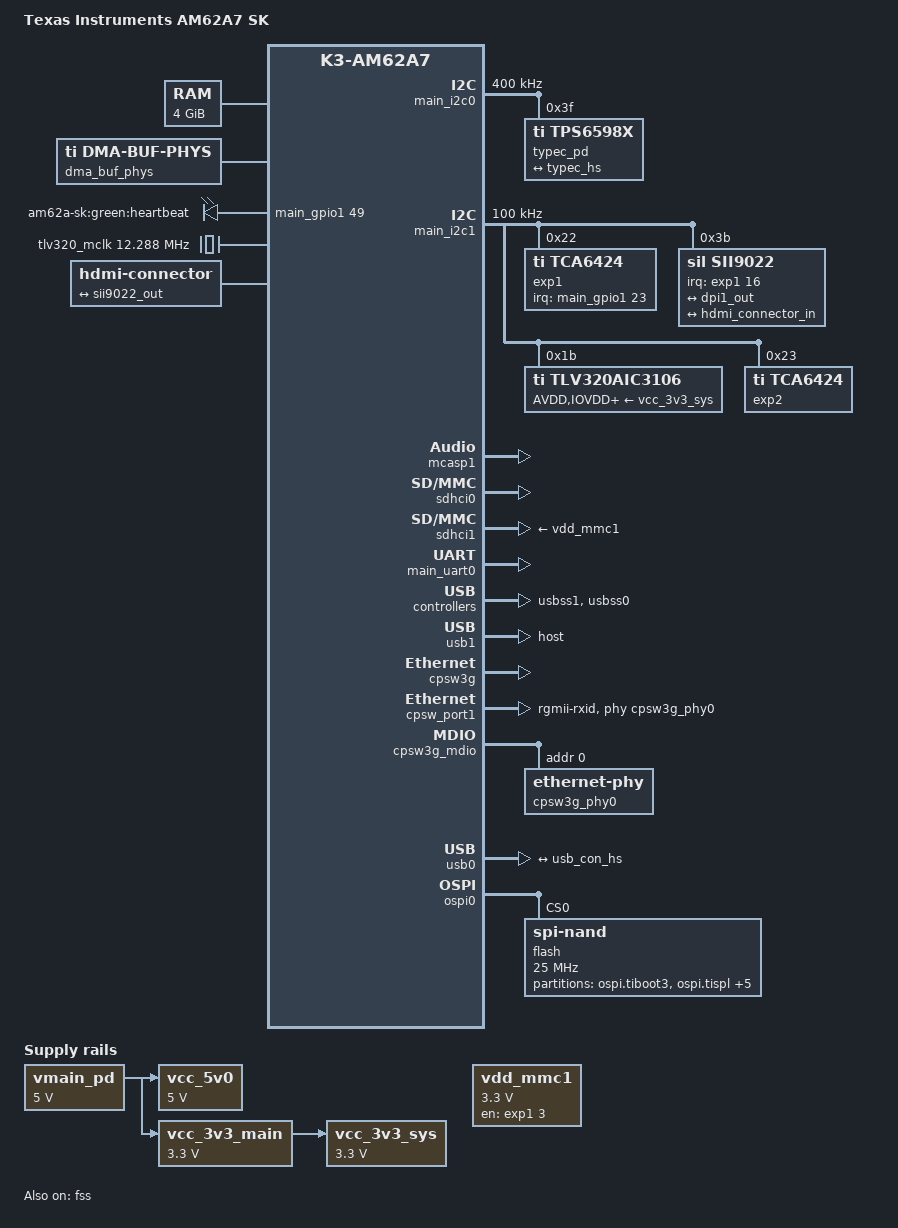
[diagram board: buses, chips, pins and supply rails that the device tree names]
// SPDX-License-Identifier: GPL-2.0
/*
 * AM62A SK: https://www.ti.com/lit/zip/sprr459
 *
 * Copyright (C) 2022 Texas Instruments Incorporated - https://www.ti.com/
 */

/dts-v1/;

#include <dt-bindings/leds/common.h>
#include <dt-bindings/gpio/gpio.h>
#include <dt-bindings/net/ti-dp83867.h>
#include "k3-am62a7.dtsi"

/ {
	compatible =  "ti,am62a7-sk", "ti,am62a7";
	model = "Texas Instruments AM62A7 SK";

	aliases {
		serial2 = &main_uart0;
		mmc0 = &sdhci0;
		mmc1 = &sdhci1;
	};

	chosen {
		stdout-path = "serial2:115200n8";
	};

	memory@80000000 {
		device_type = "memory";
		/* 4G RAM */
		reg = <0x00000000 0x80000000 0x00000000 0x80000000>,
		      <0x00000008 0x80000000 0x00000000 0x80000000>;
	};

	dma_buf_phys {
		compatible = "ti,dma-buf-phys";
	};

	reserved-memory {
		#address-cells = <2>;
		#size-cells = <2>;
		ranges;

		secure_tfa_ddr: tfa@9e780000 {
			reg = <0x00 0x9e780000 0x00 0x80000>;
			alignment = <0x1000>;
			no-map;
		};

		secure_ddr: optee@9e800000 {
			reg = <0x00 0x9e800000 0x00 0x01800000>; /* for OP-TEE */
			alignment = <0x1000>;
			no-map;
		};

		wkup_r5fss0_core0_dma_memory_region: r5f-dma-memory@9c800000 {
			compatible = "shared-dma-pool";
			reg = <0x00 0x9c800000 0x00 0x100000>;
			no-map;
		};

		wkup_r5fss0_core0_memory_region: r5f-dma-memory@9c900000 {
			compatible = "shared-dma-pool";
			reg = <0x00 0x9c900000 0x00 0x01e00000>;
			no-map;
		};

		mcu_r5fss0_core0_dma_memory_region: r5f-dma-memory@9b800000 {
			compatible = "shared-dma-pool";
			reg = <0x00 0x9b800000 0x00 0x100000>;
			no-map;
		};

		mcu_r5fss0_core0_memory_region: r5f-dma-memory@9b900000 {
			compatible = "shared-dma-pool";
			reg = <0x00 0x9b900000 0x00 0x0f00000>;
			no-map;
		};

		c7x_0_dma_memory_region: c7x-dma-memory@99800000 {
			compatible = "shared-dma-pool";
			reg = <0x00 0x99800000 0x00 0x100000>;
			no-map;
		};

		c7x_0_memory_region: c7x-memory@99900000 {
			compatible = "shared-dma-pool";
			reg = <0x00 0x99900000 0x00 0x01efffff>;
			no-map;
		};

		edgeai_rtos_ipc_memory_region: edgeai-rtos-ipc-memory-region {
			reg = <0x00 0xa0000000 0x00 0x01000000>;
			no-map;
		};

		edgeai_memory_region: edgeai-dma-memory@a1000000 {
			compatible = "shared-dma-pool";
			reg = <0x00 0xa1000000 0x00 0x02000000>;
			no-map;
		};

		edgeai_shared_region: edgeai_shared-memories {
			compatible = "dma-heap-carveout";
			reg = <0x00 0xa3000000 0x00 0x0b000000>;
		};

		edgeai_core_heaps: edgeai-core-heap-memory@ae000000 {
			compatible = "shared-dma-pool";
			reg = <0x00 0xae000000 0x00 0x12000000>;
			no-map;
		};
	};

	vmain_pd: regulator-0 {
		/* TPS25750 PD CONTROLLER OUTPUT */
		compatible = "regulator-fixed";
		regulator-name = "vmain_pd";
		regulator-min-microvolt = <5000000>;
		regulator-max-microvolt = <5000000>;
		regulator-always-on;
		regulator-boot-on;
	};

	vcc_5v0: regulator-1 {
		/* Output of TPS63070 */
		compatible = "regulator-fixed";
		regulator-name = "vcc_5v0";
		regulator-min-microvolt = <5000000>;
		regulator-max-microvolt = <5000000>;
		vin-supply = <&vmain_pd>;
		regulator-always-on;
		regulator-boot-on;
	};

	vcc_3v3_main: regulator-2 {
		/* output of LM5141-Q1 */
		compatible = "regulator-fixed";
		regulator-name = "vcc_3v3_main";
		regulator-min-microvolt = <3300000>;
		regulator-max-microvolt = <3300000>;
		vin-supply = <&vmain_pd>;
		regulator-always-on;
		regulator-boot-on;
	};

	vdd_mmc1: regulator-3 {
		/* TPS22918DBVR */
		compatible = "regulator-fixed";
		regulator-name = "vdd_mmc1";
		regulator-min-microvolt = <3300000>;
		regulator-max-microvolt = <3300000>;
		regulator-boot-on;
		enable-active-high;
		gpio = <&exp1 3 GPIO_ACTIVE_HIGH>;
	};

	vcc_3v3_sys: regulator-4 {
		/* output of TPS222965DSGT */
		compatible = "regulator-fixed";
		regulator-name = "vcc_3v3_sys";
		regulator-min-microvolt = <3300000>;
		regulator-max-microvolt = <3300000>;
		vin-supply = <&vcc_3v3_main>;
		regulator-always-on;
		regulator-boot-on;
	};

	leds {
		compatible = "gpio-leds";
		pinctrl-names = "default";
		pinctrl-0 = <&usr_led_pins_default>;

		led-0 {
			label = "am62a-sk:green:heartbeat";
			gpios = <&main_gpio1 49 GPIO_ACTIVE_HIGH>;
			linux,default-trigger = "heartbeat";
			function = LED_FUNCTION_HEARTBEAT;
			default-state = "off";
		};
	};

	hdmi_mstrclk: hdmi-mstrclk {
		compatible = "fixed-clock";
		#clock-cells = <0>;
		clock-frequency = <12288000>;
	};

	tlv320_mclk: clk-0 {
		#clock-cells = <0>;
		compatible = "fixed-clock";
		clock-frequency = <12288000>;
	};

	codec_audio: sound {
		compatible = "simple-audio-card";
		simple-audio-card,name = "AM62Ax-SKEVM";
		simple-audio-card,widgets =
			"Headphone",	"Headphone Jack",
			"Line",	"Line In",
			"Microphone",	"Microphone Jack";
		simple-audio-card,routing =
			"Headphone Jack",	"HPLOUT",
			"Headphone Jack",	"HPROUT",
			"LINE1L",		"Line In",
			"LINE1R",		"Line In",
			"MIC3R",		"Microphone Jack",
			"Microphone Jack",	"Mic Bias";
		simple-audio-card,format = "dsp_b";
		simple-audio-card,bitclock-master = <&sound_master>;
		simple-audio-card,frame-master = <&sound_master>;
		simple-audio-card,bitclock-inversion;

		simple-audio-card,cpu {
			sound-dai = <&mcasp1>;
		};

		sound_master: simple-audio-card,codec {
			sound-dai = <&tlv320aic3106>;
			clocks = <&tlv320_mclk>;
		};
	};

	hdmi: connector {
		compatible = "hdmi-connector";
		label = "hdmi";
		type = "a";
		port {
			hdmi_connector_in: endpoint {
				remote-endpoint = <&sii9022_out>;
			};
		};
	};
};

&main_pmx0 {
	main_uart0_pins_default: main-uart0-pins-default {
		pinctrl-single,pins = <
			AM62AX_IOPAD(0x1c8, PIN_INPUT, 0) /* (D14) UART0_RXD */
			AM62AX_IOPAD(0x1cc, PIN_OUTPUT, 0) /* (E14) UART0_TXD */
		>;
	};

	main_i2c0_pins_default: main-i2c0-pins-default {
		pinctrl-single,pins = <
			AM62AX_IOPAD(0x1e0, PIN_INPUT_PULLUP, 0) /* (B16) I2C0_SCL */
			AM62AX_IOPAD(0x1e4, PIN_INPUT_PULLUP, 0) /* (A16) I2C0_SDA */
		>;
	};

	main_i2c1_pins_default: main-i2c1-pins-default {
		pinctrl-single,pins = <
			AM62AX_IOPAD(0x1e8, PIN_INPUT_PULLUP, 0) /* (B17) I2C1_SCL */
			AM62AX_IOPAD(0x1ec, PIN_INPUT_PULLUP, 0) /* (A17) I2C1_SDA */
		>;
	};

	main_i2c2_pins_default: main-i2c2-pins-default {
		pinctrl-single,pins = <
			AM62AX_IOPAD(0x0b0, PIN_INPUT_PULLUP, 1) /* (K22) GPMC0_CSn2.I2C2_SCL */
			AM62AX_IOPAD(0x0b4, PIN_INPUT_PULLUP, 1) /* (K24) GPMC0_CSn3.I2C2_SDA */
		>;
	};

	main_mmc0_pins_default: main-mmc0-pins-default {
		pinctrl-single,pins = <
			AM62AX_IOPAD(0x220, PIN_INPUT, 0) /* (Y3) MMC0_CMD */
			AM62AX_IOPAD(0x218, PIN_INPUT, 0) /* (AB1) MMC0_CLKLB */
			AM62AX_IOPAD(0x21c, PIN_INPUT, 0) /* (AB1) MMC0_CLK */
			AM62AX_IOPAD(0x214, PIN_INPUT, 0) /* (AA2) MMC0_DAT0 */
			AM62AX_IOPAD(0x210, PIN_INPUT_PULLUP, 0) /* (AA1) MMC0_DAT1 */
			AM62AX_IOPAD(0x20c, PIN_INPUT_PULLUP, 0) /* (AA3) MMC0_DAT2 */
			AM62AX_IOPAD(0x208, PIN_INPUT_PULLUP, 0) /* (Y4) MMC0_DAT3 */
			AM62AX_IOPAD(0x204, PIN_INPUT_PULLUP, 0) /* (AB2) MMC0_DAT4 */
			AM62AX_IOPAD(0x200, PIN_INPUT_PULLUP, 0) /* (AC1) MMC0_DAT5 */
			AM62AX_IOPAD(0x1fc, PIN_INPUT_PULLUP, 0) /* (AD2) MMC0_DAT6 */
			AM62AX_IOPAD(0x1f8, PIN_INPUT_PULLUP, 0) /* (AC2) MMC0_DAT7 */
		>;
	};

	main_mmc1_pins_default: main-mmc1-pins-default {
		pinctrl-single,pins = <
			AM62AX_IOPAD(0x23c, PIN_INPUT, 0) /* (A21) MMC1_CMD */
			AM62AX_IOPAD(0x234, PIN_INPUT, 0) /* (B22) MMC1_CLK */
			AM62AX_IOPAD(0x230, PIN_INPUT, 0) /* (A22) MMC1_DAT0 */
			AM62AX_IOPAD(0x22c, PIN_INPUT, 0) /* (B21) MMC1_DAT1 */
			AM62AX_IOPAD(0x228, PIN_INPUT, 0) /* (C21) MMC1_DAT2 */
			AM62AX_IOPAD(0x224, PIN_INPUT, 0) /* (D22) MMC1_DAT3 */
			AM62AX_IOPAD(0x240, PIN_INPUT, 0) /* (D17) MMC1_SDCD */
		>;
	};

	usr_led_pins_default: usr-led-pins-default {
		pinctrl-single,pins = <
			AM62AX_IOPAD(0x244, PIN_OUTPUT, 7) /* (D18) MMC1_SDWP.GPIO1_49 */
		>;
	};

	main_gpio1_ioexp_intr_pins_default: main-gpio1-ioexp-intr-pins-default {
		pinctrl-single,pins = <
			AM62AX_IOPAD(0x01d4, PIN_INPUT, 7) /* (C15) UART0_RTSn.GPIO1_23 */

		>;
	};

	main_dss0_pins_default: main-dss0-pins-default {
		pinctrl-single,pins = <
			AM62AX_IOPAD(0x100, PIN_OUTPUT, 0) /* (V17) VOUT0_VSYNC */
			AM62AX_IOPAD(0x0f8, PIN_OUTPUT, 0) /* (T18) VOUT0_HSYNC */
			AM62AX_IOPAD(0x104, PIN_OUTPUT, 0) /* (AA22) VOUT0_PCLK */
			AM62AX_IOPAD(0x0fc, PIN_OUTPUT, 0) /* (U17) VOUT0_DE */
			AM62AX_IOPAD(0x0b8, PIN_OUTPUT, 0) /* (U22) VOUT0_DATA0 */
			AM62AX_IOPAD(0x0bc, PIN_OUTPUT, 0) /* (U21) VOUT0_DATA1 */
			AM62AX_IOPAD(0x0c0, PIN_OUTPUT, 0) /* (U20) VOUT0_DATA2 */
			AM62AX_IOPAD(0x0c4, PIN_OUTPUT, 0) /* (U19) VOUT0_DATA3 */
			AM62AX_IOPAD(0x0c8, PIN_OUTPUT, 0) /* (T19) VOUT0_DATA4 */
			AM62AX_IOPAD(0x0cc, PIN_OUTPUT, 0) /* (U18) VOUT0_DATA5 */
			AM62AX_IOPAD(0x0d0, PIN_OUTPUT, 0) /* (V22) VOUT0_DATA6 */
			AM62AX_IOPAD(0x0d4, PIN_OUTPUT, 0) /* (V21) VOUT0_DATA7 */
			AM62AX_IOPAD(0x0d8, PIN_OUTPUT, 0) /* (V19) VOUT0_DATA8 */
			AM62AX_IOPAD(0x0dc, PIN_OUTPUT, 0) /* (V18) VOUT0_DATA9 */
			AM62AX_IOPAD(0x0e0, PIN_OUTPUT, 0) /* (W22) VOUT0_DATA10 */
			AM62AX_IOPAD(0x0e4, PIN_OUTPUT, 0) /* (W21) VOUT0_DATA11 */
			AM62AX_IOPAD(0x0e8, PIN_OUTPUT, 0) /* (W20) VOUT0_DATA12 */
			AM62AX_IOPAD(0x0ec, PIN_OUTPUT, 0) /* (W19) VOUT0_DATA13 */
			AM62AX_IOPAD(0x0f0, PIN_OUTPUT, 0) /* (Y21) VOUT0_DATA14 */
			AM62AX_IOPAD(0x0f4, PIN_OUTPUT, 0) /* (Y22) VOUT0_DATA15 */
			AM62AX_IOPAD(0x05c, PIN_OUTPUT, 1) /* (P22) GPMC0_AD8.VOUT0_DATA16 */
			AM62AX_IOPAD(0x060, PIN_OUTPUT, 1) /* (R19) GPMC0_AD9.VOUT0_DATA17 */
			AM62AX_IOPAD(0x064, PIN_OUTPUT, 1) /* (R20) GPMC0_AD10.VOUT0_DATA18 */
			AM62AX_IOPAD(0x068, PIN_OUTPUT, 1) /* (R22) GPMC0_AD11.VOUT0_DATA19 */
			AM62AX_IOPAD(0x06c, PIN_OUTPUT, 1) /* (T22) GPMC0_AD12.VOUT0_DATA20 */
			AM62AX_IOPAD(0x070, PIN_OUTPUT, 1) /* (R21) GPMC0_AD13.VOUT0_DATA21 */
			AM62AX_IOPAD(0x074, PIN_OUTPUT, 1) /* (T20) GPMC0_AD14.VOUT0_DATA22 */
			AM62AX_IOPAD(0x078, PIN_OUTPUT, 1) /* (T21) GPMC0_AD15.VOUT0_DATA23 */
		>;
	};

	ospi0_pins_default: ospi0-pins-default {
		pinctrl-single,pins = <
			AM62AX_IOPAD(0x000, PIN_OUTPUT, 0) /* (H24) OSPI0_CLK */
			AM62AX_IOPAD(0x02c, PIN_OUTPUT, 0) /* (F23) OSPI0_CSn0 */
			AM62AX_IOPAD(0x00c, PIN_INPUT, 0) /* (E25) OSPI0_D0 */
			AM62AX_IOPAD(0x010, PIN_INPUT, 0) /* (G24) OSPI0_D1 */
			AM62AX_IOPAD(0x014, PIN_INPUT, 0) /* (F25) OSPI0_D2 */
			AM62AX_IOPAD(0x018, PIN_INPUT, 0) /* (F24) OSPI0_D3 */
			AM62AX_IOPAD(0x01c, PIN_INPUT, 0) /* (J23) OSPI0_D4 */
			AM62AX_IOPAD(0x020, PIN_INPUT, 0) /* (J25) OSPI0_D5 */
			AM62AX_IOPAD(0x024, PIN_INPUT, 0) /* (H25) OSPI0_D6 */
			AM62AX_IOPAD(0x028, PIN_INPUT, 0) /* (J22) OSPI0_D7 */
			AM62AX_IOPAD(0x008, PIN_INPUT, 0) /* (J24) OSPI0_DQS */
		>;
	};

	main_usb1_pins_default: main-usb1-pins-default {
		pinctrl-single,pins = <
			AM62AX_IOPAD(0x0258, PIN_OUTPUT, 0) /* (F18) USB1_DRVVBUS */
		>;
	};

	main_mdio1_pins_default: main-mdio1-pins-default {
		pinctrl-single,pins = <
			AM62AX_IOPAD(0x160, PIN_OUTPUT, 0) /* (V12) MDIO0_MDC */
			AM62AX_IOPAD(0x15c, PIN_INPUT, 0) /* (V13) MDIO0_MDIO */
		>;
	};

	main_rgmii1_pins_default: main-rgmii1-pins-default {
		pinctrl-single,pins = <
			AM62AX_IOPAD(0x14c, PIN_INPUT, 0) /* (AB16) RGMII1_RD0 */
			AM62AX_IOPAD(0x150, PIN_INPUT, 0) /* (V15) RGMII1_RD1 */
			AM62AX_IOPAD(0x154, PIN_INPUT, 0) /* (W15) RGMII1_RD2 */
			AM62AX_IOPAD(0x158, PIN_INPUT, 0) /* (V14) RGMII1_RD3 */
			AM62AX_IOPAD(0x148, PIN_INPUT, 0) /* (AA16) RGMII1_RXC */
			AM62AX_IOPAD(0x144, PIN_INPUT, 0) /* (AA15) RGMII1_RX_CTL */
			AM62AX_IOPAD(0x134, PIN_INPUT, 0) /* (Y17) RGMII1_TD0 */
			AM62AX_IOPAD(0x138, PIN_INPUT, 0) /* (V16) RGMII1_TD1 */
			AM62AX_IOPAD(0x13c, PIN_INPUT, 0) /* (Y16) RGMII1_TD2 */
			AM62AX_IOPAD(0x140, PIN_INPUT, 0) /* (AA17) RGMII1_TD3 */
			AM62AX_IOPAD(0x130, PIN_INPUT, 0) /* (AB17) RGMII1_TXC */
			AM62AX_IOPAD(0x12c, PIN_INPUT, 0) /* (W16) RGMII1_TX_CTL */
		>;
	};

	main_mcan0_pins_default: main-mcan0-pins-default {
		pinctrl-single,pins = <
			AM62AX_IOPAD(0x1d8, PIN_OUTPUT, 0) /* (B17) MCAN0_TX.UART5_RXD */
			AM62AX_IOPAD(0x1dc, PIN_INPUT, 0) /* (C18) MCAN0_RX.UART5_TXD */
		>;
	};

	main_mcasp1_pins_default: main-mcasp1-pins-default {
		pinctrl-single,pins = <
			AM62AX_IOPAD(0x090, PIN_INPUT, 2) /* (L19) GPMC0_BE0n_CLE.MCASP1_ACLKX */
			AM62AX_IOPAD(0x098, PIN_INPUT, 2) /* (R18) GPMC0_WAIT0.MCASP1_AFSX */
			AM62AX_IOPAD(0x08c, PIN_OUTPUT, 2) /* (K19) GPMC0_WEn.MCASP1_AXR0 */
			AM62AX_IOPAD(0x084, PIN_INPUT, 2) /* (L18) GPMC0_ADVn_ALE.MCASP1_AXR2 */
		>;
	};
};

&main_gpio1 {
	status = "okay";
};

&main_i2c0 {
	status = "okay";
	pinctrl-names = "default";
	pinctrl-0 = <&main_i2c0_pins_default>;
	clock-frequency = <400000>;

	typec_pd: usb-pd@3f {
		compatible = "ti,tps6598x";
		reg = <0x3f>;

		connector {
			ports {
				#address-cells = <1>;
				#size-cells = <0>;

				port@1 {
					reg = <1>;

					usb_con_hs: endpoint {
						remote-endpoint = <&typec_hs>;
					};
				};
			};
		};
	};
};

&main_i2c1 {
	status = "okay";
	pinctrl-names = "default";
	pinctrl-0 = <&main_i2c1_pins_default>;
	clock-frequency = <100000>;

	exp1: gpio@22 {
		compatible = "ti,tca6424";
		reg = <0x22>;
		gpio-controller;
		#gpio-cells = <2>;

		interrupt-parent = <&main_gpio1>;
		interrupts = <23 IRQ_TYPE_EDGE_FALLING>;
		interrupt-controller;
		#interrupt-cells = <2>;
		gpio-line-names = "GPIO_CPSW2_RST", "GPIO_CPSW1_RST",
				   "BT_EN_SOC", "MMC1_SD_EN",
				   "VPP_EN", "EXP_PS_3V3_En",
				   "EXP_PS_5V0_En", "EXP_HAT_DETECT",
				   "GPIO_AUD_RSTn", "GPIO_eMMC_RSTn",
				   "UART1_FET_BUF_EN", "BT_UART_WAKE_SOC",
				   "GPIO_HDMI_RSTn", "CSI_GPIO0",
				   "CSI_GPIO1", "WLAN_ALERTn",
				   "HDMI_INTn", "TEST_GPIO2",
				   "MCASP1_FET_EN", "MCASP1_BUF_BT_EN",
				   "MCASP1_FET_SEL", "UART1_FET_SEL",
				   "PD_I2C_IRQ", "IO_EXP_TEST_LED";

		pinctrl-names = "default";
		pinctrl-0 = <&main_gpio1_ioexp_intr_pins_default>;
	};

	sii9022: sii9022@3b {
		#sound-dai-cells = <0>;
		compatible = "sil,sii9022";
		reg = <0x3b>;

		clocks = <&hdmi_mstrclk>;
		clock-names = "mclk";

		interrupt-parent = <&exp1>;
		interrupts = <16 IRQ_TYPE_EDGE_FALLING>;

		sil,i2s-data-lanes = < 0 >;

		ports {
			#address-cells = <1>;
			#size-cells = <0>;

			port@0 {
				reg = <0>;

				sii9022_in: endpoint {
					remote-endpoint = <&dpi1_out>;
				};
			};

			port@1 {
				reg = <1>;

				sii9022_out: endpoint {
					remote-endpoint = <&hdmi_connector_in>;
				};
			};
		};
	};

	tlv320aic3106: audio-codec@1b {
		#sound-dai-cells = <0>;
		compatible = "ti,tlv320aic3106";
		reg = <0x1b>;
		ai3x-micbias-vg = <1>;		/* 2.0V */
		status = "okay";

		/* Regulators */
		AVDD-supply = <&vcc_3v3_sys>;
		IOVDD-supply = <&vcc_3v3_sys>;
		DRVDD-supply = <&vcc_3v3_sys>;
	};

	exp2: gpio@23 {
		compatible = "ti,tca6424";
		reg = <0x23>;
		gpio-controller;
		#gpio-cells = <2>;
	};
};

&main_i2c2 {
	status = "disabled";
	pinctrl-names = "default";
	pinctrl-0 = <&main_i2c2_pins_default>;
	clock-frequency = <400000>;
};

&mcasp1 {
	status = "okay";
	#sound-dai-cells = <0>;

	pinctrl-names = "default";
	pinctrl-0 = <&main_mcasp1_pins_default>;

	op-mode = <0>;          /* MCASP_IIS_MODE */
	tdm-slots = <2>;

	serial-dir = <  /* 0: INACTIVE, 1: TX, 2: RX */
	       1 0 2 0
	       0 0 0 0
	       0 0 0 0
	       0 0 0 0
	>;
	tx-num-evt = <32>;
	rx-num-evt = <32>;
};

&sdhci0 {
	status = "okay";
	pinctrl-names = "default";
	pinctrl-0 = <&main_mmc0_pins_default>;
	ti,driver-strength-ohm = <50>;
	disable-wp;
};

&sdhci1 {
	/* SD/MMC */
	status = "okay";
	vmmc-supply = <&vdd_mmc1>;
	pinctrl-names = "default";
	pinctrl-0 = <&main_mmc1_pins_default>;
	ti,driver-strength-ohm = <50>;
	disable-wp;
};

&main_gpio0 {
	status = "okay";
};

&main_gpio1 {
	status = "okay";
};

&main_gpio_intr {
	status = "okay";
};

&main_uart0 {
	status = "okay";
	pinctrl-names = "default";
	pinctrl-0 = <&main_uart0_pins_default>;
};

&dss {
	pinctrl-names = "default";
	pinctrl-0 = <&main_dss0_pins_default>;
};

&dss_ports {
	/* VP2: DPI Output */
	port@1 {
		reg = <1>;

		dpi1_out: endpoint {
			remote-endpoint = <&sii9022_in>;
		};
	};
};

&usbss1 {
	status = "okay";
};

&usb1 {
	dr_mode = "host";
	pinctrl-names = "default";
	pinctrl-0 = <&main_usb1_pins_default>;
};

&cpsw3g {
	status = "okay";
	pinctrl-names = "default";
	pinctrl-0 = <&main_rgmii1_pins_default>;
};

&cpsw_port1 {
	status = "okay";
	phy-mode = "rgmii-rxid";
	phy-handle = <&cpsw3g_phy0>;
};

&cpsw_port2 {
	status = "disabled";
};

&cpsw3g_mdio {
	status = "okay";
	pinctrl-names = "default";
	pinctrl-0 = <&main_mdio1_pins_default>;

	cpsw3g_phy0: ethernet-phy@0 {
		reg = <0>;
		ti,rx-internal-delay = <DP83867_RGMIIDCTL_2_00_NS>;
		ti,fifo-depth = <DP83867_PHYCR_FIFO_DEPTH_4_B_NIB>;
		ti,min-output-impedance;
	};
};

&usbss0 {
	status = "okay";
};

&usb0 {
	#address-cells = <1>;
	#size-cells = <0>;
	usb-role-switch;

	port@1 {
		reg = <1>;

		typec_hs: endpoint {
			remote-endpoint = <&usb_con_hs>;
		};
	};
};

&mailbox0_cluster0 {
	mbox_r5_0: mbox-r5-0 {
		ti,mbox-rx = <0 0 0>;
		ti,mbox-tx = <1 0 0>;
	};
};

&mailbox0_cluster1 {
	mbox_c7x_0: mbox-c7x-0 {
		ti,mbox-rx = <0 0 0>;
		ti,mbox-tx = <1 0 0>;
	};
};

&mailbox0_cluster2 {
	mbox_mcu_r5_0: mbox-mcu_r5-0 {
		ti,mbox-rx = <0 0 0>;
		ti,mbox-tx = <1 0 0>;
	};
};

&c7x_0 {
	mboxes = <&mailbox0_cluster1 &mbox_c7x_0>;
	memory-region = <&c7x_0_dma_memory_region>,
			<&c7x_0_memory_region>;
};

&wkup_r5fss0_core0 {
	mboxes = <&mailbox0_cluster0 &mbox_r5_0>;
	memory-region = <&wkup_r5fss0_core0_dma_memory_region>,
		<&wkup_r5fss0_core0_memory_region>;
};

&mcu_r5fss0_core0 {
	mboxes = <&mailbox0_cluster2 &mbox_mcu_r5_0>;
	memory-region = <&mcu_r5fss0_core0_dma_memory_region>,
			<&mcu_r5fss0_core0_memory_region>;
};

&csi0_port0 {
	status = "disabled";
};

&csi0_port1 {
	status = "disabled";
};

&csi0_port2 {
	status = "disabled";
};

&csi0_port3 {
	status = "disabled";
};

&csi0_port4 {
	status = "disabled";
};

&fss {
	status = "okay";
};

&ospi0 {
	status = "okay";
	pinctrl-names = "default";
	pinctrl-0 = <&ospi0_pins_default>;

	flash@0 {
		compatible = "spi-nand";
		reg = <0x0>;
		spi-tx-bus-width = <8>;
		spi-rx-bus-width = <8>;
		spi-max-frequency = <25000000>;
		cdns,tshsl-ns = <60>;
		cdns,tsd2d-ns = <60>;
		cdns,tchsh-ns = <60>;
		cdns,tslch-ns = <60>;
		cdns,read-delay = <2>;
		cdns,phy-mode;

		partitions {
			compatible = "fixed-partitions";
			#address-cells = <1>;
			#size-cells = <1>;

			partition@0 {
				label = "ospi.tiboot3";
				reg = <0x0 0x80000>;
			};

			partition@80000 {
				label = "ospi.tispl";
				reg = <0x80000 0x200000>;
			};

			partition@280000 {
				label = "ospi.u-boot";
				reg = <0x280000 0x400000>;
			};

			partition@680000 {
				label = "ospi.env";
				reg = <0x680000 0x40000>;
			};

			partition@6c0000 {
				label = "ospi.env.backup";
				reg = <0x6c0000 0x40000>;
			};

			partition@2000000 {
				label = "ospi.rootfs";
				reg = <0x2000000 0x5fc0000>;
			};

			partition@7fc0000 {
				label = "ospi.phypattern";
				reg = <0x7fc0000 0x40000>;
			};
		};
	};
};
